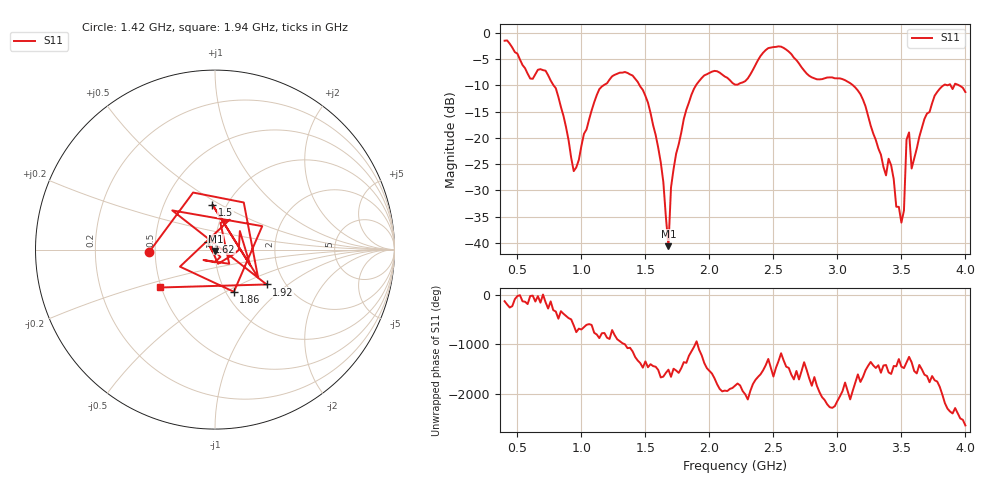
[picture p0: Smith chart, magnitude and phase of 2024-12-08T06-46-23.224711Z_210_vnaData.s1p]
!Created with skrf (http://scikit-rf.org).
# Hz S RI R 50.0
!freq ReS11 ImS11
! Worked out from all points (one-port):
!   181 points, 400 MHz to 4 GHz, reference 50 ohm
!   lowest |S11| = -40.6 dB at 1.68 GHz (marker M1), VSWR 1.02, Z = 50.3 - j0.902 ohm
!   |S11| at or under -10 dB: 782.3 MHz to 1.173 GHz (391.2 MHz wide, 40 % of centre); 1.455 GHz to 1.896 GHz (441 MHz wide, 26.3 % of centre); 3.122 GHz to 3.83 GHz (708.7 MHz wide, 20.4 % of centre) (the widest 3 of 6)
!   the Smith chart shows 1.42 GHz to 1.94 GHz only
!   S11 on the Smith chart (normalised r, x): 1.42 GHz: 0.47, -0.01; 1.5 GHz: 0.86, +0.46; 1.62 GHz: 0.92, +0.08; 1.86 GHz: 1.09, -0.55; 1.92 GHz: 1.61, -0.71; 1.94 GHz: 0.49, -0.24
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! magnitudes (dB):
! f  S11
! 400 MHz  -1.5
! 720 MHz  -7.2
! 860 MHz  -15.8
! 940 MHz  -26.3
! 1.14 GHz  -10.7
! 1.3 GHz  -7.6
! 1.42 GHz  -8.7
! 1.5 GHz  -12.0
! 1.62 GHz  -24.7
! 1.68 GHz  -40.6
! 1.7 GHz  -29.4
! 1.76 GHz  -21.2
! 1.86 GHz  -11.8
! 1.92 GHz  -9.2
! 1.94 GHz  -8.6
! 2.2 GHz  -9.9
! 2.46 GHz  -2.9
! 2.66 GHz  -4.8
! 3.1 GHz  -9.6
! 3.38 GHz  -27.1
! 3.42 GHz  -25.2
! 3.5 GHz  -36.1
! 3.52 GHz  -33.8
! 3.54 GHz  -20.3
! 3.56 GHz  -19.0
! 3.58 GHz  -25.8
! 3.78 GHz  -11.3
! 4 GHz  -11.3
